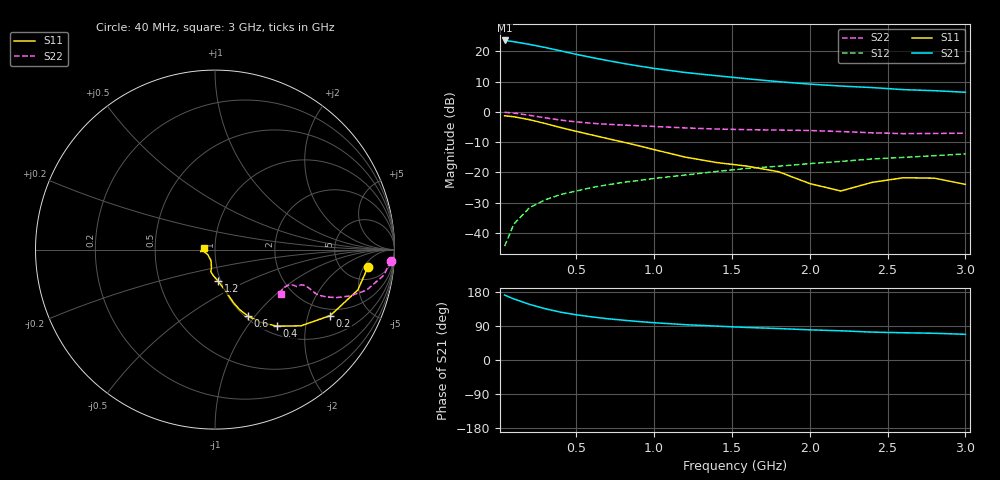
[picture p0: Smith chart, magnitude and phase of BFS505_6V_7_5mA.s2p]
! Filename:  BFS505L.S2P  Version:  4.0
! Philips part #: BFS505  Date: Jun 1994
! Bias condition: Vce=6V, Ic=7.5mA
#  MHz  S  MA  R  50
! Freq  S11  S21  S12  S22  !GUM [dB]
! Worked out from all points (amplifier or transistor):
!   21 points, 40 MHz to 3 GHz, reference 50 ohm
!   highest |S21| = 23.6 dB at 40 MHz (marker M1)
!   |S21| within 3 dB of that: start of sweep to 360.7 MHz
!   unconditionally stable (mu >= 1): 1.033 GHz to end of sweep
!   at 300 MHz: K = 0.51, MSG = 25.2 dB, |S12| = -29.1 dB
!   at 1 GHz: K = 0.99, MSG = 18.2 dB, |S12| = -22.0 dB
!   at 3 GHz: K = 1.13, MAG = 8.0 dB, |S12| = -13.9 dB
!   S11 on the Smith chart (normalised r, x): 40 MHz: 8, -6; 200 MHz: 1.72, -2.79; 400 MHz: 1.14, -1.39; 600 MHz: 1.03, -0.92; 1.2 GHz: 0.97, -0.36; 3 GHz: 0.88, +0.01
40  0.858 -6.5  15.09 171.3  0.006 85.9  0.98 -3.6
100  0.827 -15.8  14.39 161.1  0.014 80.3  0.952 -8.6
200  0.74 -29.8  12.99 146.8  0.026 72.8  0.874 -15.0
300  0.64 -41.6  11.56 135.4  0.035 69.2  0.794 -19.0
400  0.548 -51.1  10.15 126.2  0.043 67.2  0.729 -21.5
500  0.475 -58.2  8.909 119.3  0.049 66.5  0.68 -22.9
600  0.414 -63.6  7.884 113.8  0.056 66.6  0.646 -23.5
700  0.361 -67.7  7.037 109.0  0.062 67.3  0.621 -23.7
800  0.316 -70.6  6.315 105.1  0.068 68.0  0.604 -23.4
900  0.275 -73.0  5.72 101.5  0.073 68.3  0.587 -22.9
1000  0.237 -75.8  5.211 98.4  0.079 68.5  0.572 -22.4
1200  0.178 -84.2  4.459 93.2  0.09 69.2  0.541 -21.7
1400  0.145 -93.9  3.943 89.4  0.103 70.2  0.518 -22.2
1600  0.126 -100.6  3.507 85.8  0.116 70.5  0.506 -23.7
1800  0.102 -101.2  3.143 83.0  0.126 71.1  0.498 -24.4
2000  0.065 -110.2  2.867 79.6  0.139 71.0  0.49 -24.3
2200  0.049 -145.1  2.661 77.1  0.151 71.2  0.471 -24.6
2400  0.068 -174.5  2.511 73.6  0.166 71.1  0.449 -26.5
2600  0.081 -172.9  2.323 71.9  0.176 70.5  0.435 -30.0
2800  0.08 -171.8  2.231 70.5  0.188 71.5  0.438 -32.7
3000  0.063 173.4  2.101 67.8  0.201 71.2  0.442 -33.7
